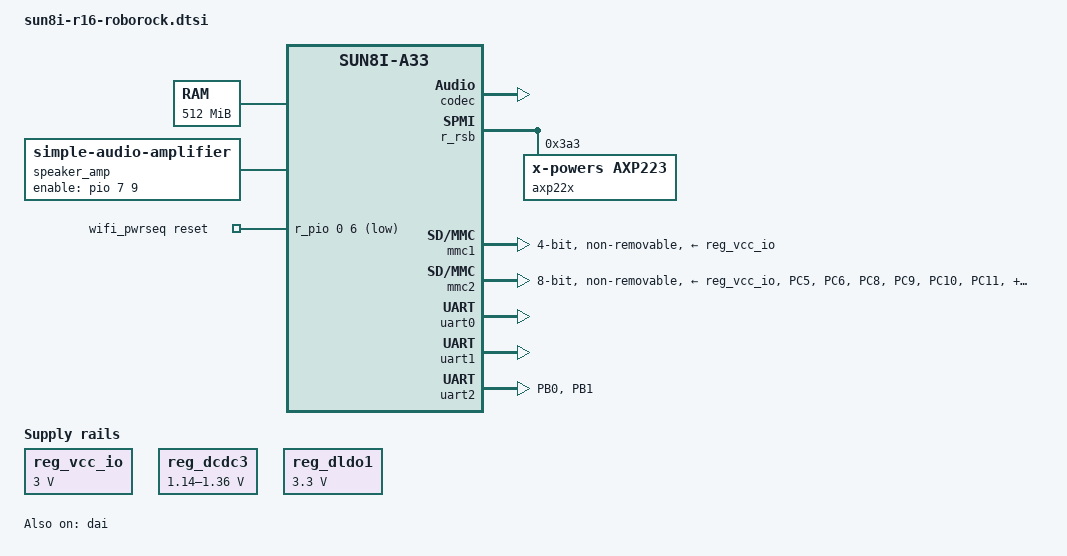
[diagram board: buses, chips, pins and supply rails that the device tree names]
// SPDX-License-Identifier: (GPL-2.0+ OR MIT)
/*
 * Roborock "Ruby-R16" main board, shared by the S5 (S502-00) and the Gen 1 (Xiaomi Mi Robot Vacuum / Roborock V1):
 * Allwinner R16, 512 MB DDR3, 8-bit eMMC, RTL8189ES SDIO Wi-Fi, AXP223 PMIC. Booted by the stock U-Boot.
 *
 * uart0 PF2/PF4  debug console
 * uart1 PG6/PG7  LDS (lidar)
 * uart2 PB0/PB1  chassis MCU, 1152000 8N1
 * mmc1  PG0-PG5  RTL8189ES SDIO, shutdown PL6
 * mmc2  PC5-PC16 eMMC, 8-bit
 * PH9   speaker amplifier enable, fed from the codec's headphone output
 *
 * AXP223 PMIC on RSB, rails as stock runs them; the S5's Wi-Fi also needs DLDO2 (sun8i-r16-roborock-s5.dts).
 */

#include "sun8i-a33.dtsi"

#include <dt-bindings/clock/sun6i-rtc.h>
#include <dt-bindings/gpio/gpio.h>

/ {
	aliases {
		/* the bootloader passes root=/dev/mmcblk0p8 or p9 */
		mmc0 = &mmc2;
		mmc1 = &mmc1;
		serial0 = &uart0;
		serial1 = &uart1;
		serial2 = &uart2;
	};

	chosen {
		stdout-path = "serial0:115200n8";
	};

	/* the bootloader adds no memory node to the appended DTB */
	memory@40000000 {
		device_type = "memory";
		reg = <0x40000000 0x20000000>;
	};

	reg_vcc_io: regulator-vcc-io {
		compatible = "regulator-fixed";
		regulator-name = "vcc-io";
		regulator-min-microvolt = <3000000>;
		regulator-max-microvolt = <3000000>;
		regulator-always-on;
	};

	/* [audio0] audio_pa_ctrl */
	speaker_amp: audio-amplifier {
		compatible = "simple-audio-amplifier";
		enable-gpios = <&pio 7 9 GPIO_ACTIVE_HIGH>;	/* PH9 */
		sound-name-prefix = "Speaker Amp";
	};

	/* RTL8189ES 32 kHz clock: claimed so it is not gated off as unused */
	wifi_pwrseq: pwrseq {
		compatible = "mmc-pwrseq-simple";
		reset-gpios = <&r_pio 0 6 GPIO_ACTIVE_LOW>;	/* PL6, [wifi_para] rtl8189es_shdn */
		clocks = <&rtc CLK_OSC32K_FANOUT>;
		clock-names = "ext_clock";
	};
};

/* SID efuses: read directly, as on the A10 */
&{/soc} {
	sid: eeprom@1c23800 {
		compatible = "allwinner,sun4i-a10-sid";
		reg = <0x01c23800 0x10>;
	};
};

&pio {
	uart2_pb_pins: uart2-pb-pins {
		pins = "PB0", "PB1";
		function = "uart2";
	};

	/* mmc2_8bit_pins at the stock 40 mA drive strength */
	mmc2_8bit_40ma_pins: mmc2-8bit-40ma-pins {
		pins = "PC5", "PC6", "PC8", "PC9", "PC10", "PC11", "PC12", "PC13", "PC14", "PC15", "PC16";
		function = "mmc2";
		drive-strength = <40>;
		bias-pull-up;
	};
};

&codec {
	status = "okay";
};

&dai {
	status = "okay";
};

/*
 * Rails stock runs enabled are always-on without voltage constraints, except the CPU's; the rest are deleted, so the
 * regulator core neither changes them nor switches them off as unused.
 */
&r_rsb {
	status = "okay";

	axp22x: pmic@3a3 {
		compatible = "x-powers,axp223";
		reg = <0x3a3>;
		interrupt-parent = <&r_intc>;
		interrupts = <GIC_SPI 32 IRQ_TYPE_LEVEL_LOW>;
	};
};

#include "axp22x.dtsi"

/* enabled under stock */
&reg_dcdc1 { regulator-always-on; };
&reg_dcdc2 { regulator-always-on; };
&reg_dcdc3 {
	regulator-always-on;
	regulator-min-microvolt = <1140000>;
	regulator-max-microvolt = <1360000>;
	regulator-name = "vdd-cpu";
};
&reg_dcdc4 { regulator-always-on; };
&reg_dcdc5 { regulator-always-on; };
&reg_dc5ldo { regulator-always-on; };
&reg_aldo1 { regulator-always-on; };
&reg_aldo2 { regulator-always-on; };
&reg_aldo3 { regulator-always-on; };

/* disabled under stock */
/delete-node/ &reg_dc1sw;
/delete-node/ &reg_dldo3;
/delete-node/ &reg_dldo4;
/delete-node/ &reg_eldo1;
/delete-node/ &reg_eldo2;
/delete-node/ &reg_eldo3;

/* Wi-Fi rail, off at boot */
&reg_dldo1 {
	regulator-always-on;
	regulator-min-microvolt = <3300000>;
	regulator-max-microvolt = <3300000>;
	regulator-name = "vcc-wifi";
};

&cpu0 {
	cpu-supply = <&reg_dcdc3>;
};

/* stock [dvfs_table]: 648 MHz to 1.2 GHz at its voltages */
&cpu0_opp_table {
	/delete-node/ opp-120000000;
	/delete-node/ opp-240000000;
	/delete-node/ opp-312000000;
	/delete-node/ opp-408000000;
	/delete-node/ opp-480000000;
	/delete-node/ opp-504000000;
	/delete-node/ opp-600000000;
	/delete-node/ opp-720000000;
	/delete-node/ opp-912000000;

	opp-648000000 {
		opp-microvolt = <1140000>;
	};

	opp-816000000 {
		opp-microvolt = <1140000>;
	};

	opp-1008000000 {
		opp-microvolt = <1240000>;
	};

	opp-1200000000 {
		opp-hz = /bits/ 64 <1200000000>;
		opp-microvolt = <1360000>;
		clock-latency-ns = <244144>; /* 8 32k periods */
	};
};

&mmc1 {
	pinctrl-names = "default";
	pinctrl-0 = <&mmc1_pg_pins>;
	vmmc-supply = <&reg_vcc_io>;
	mmc-pwrseq = <&wifi_pwrseq>;
	bus-width = <4>;
	non-removable;
	status = "okay";
};

/* eMMC: 8-bit DDR52 at 50 MHz with zero clock phase, as the stock kernel runs it */
&mmc2 {
	pinctrl-names = "default";
	pinctrl-0 = <&mmc2_8bit_40ma_pins>;
	vmmc-supply = <&reg_vcc_io>;
	rockrobo,zero-clk-phase;
	bus-width = <8>;
	non-removable;
	cap-mmc-hw-reset;
	status = "okay";
};

/* APB2 (UARTs) from pll-periph at 37.5 MHz, as stock: needed for the MCU's 1152000 baud. 22 = APB2, 10 = PLL_PERIPH */
&ccu {
	assigned-clocks = <&ccu 22>;
	assigned-clock-parents = <&ccu 10>;
	assigned-clock-rates = <37500000>;
};

/* speaker amplifier on the headphone output, HPCOM as its reference ([audio0] headphone_direct_used) */
&sound {
	simple-audio-card,aux-devs = <&codec_analog>, <&speaker_amp>;
	simple-audio-card,widgets = "Speaker", "Speaker";
	simple-audio-card,routing =
		"Left DAC", "DACL",
		"Right DAC", "DACR",
		"HP", "HPCOM",
		"Speaker Amp INL", "HP",
		"Speaker Amp INR", "HP",
		"Speaker", "Speaker Amp OUTL",
		"Speaker", "Speaker Amp OUTR";
	status = "okay";
};

&uart0 {
	pinctrl-names = "default";
	pinctrl-0 = <&uart0_pf_pins>;
	status = "okay";
};

&uart1 {
	pinctrl-names = "default";
	pinctrl-0 = <&uart1_pg_pins>;
	status = "okay";
};

&uart2 {
	pinctrl-names = "default";
	pinctrl-0 = <&uart2_pb_pins>;
	status = "okay";
};
